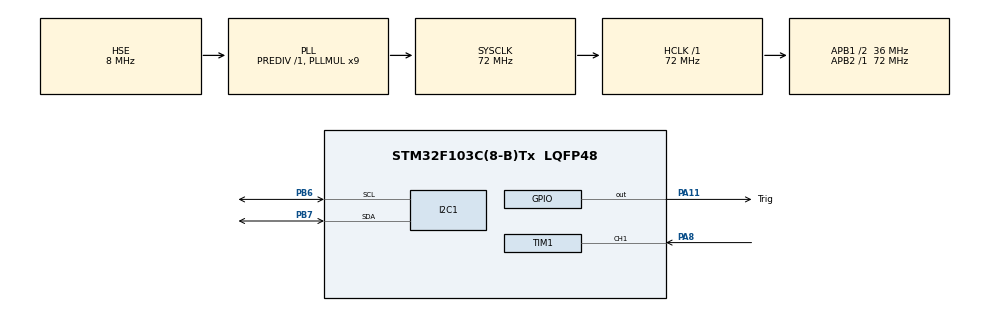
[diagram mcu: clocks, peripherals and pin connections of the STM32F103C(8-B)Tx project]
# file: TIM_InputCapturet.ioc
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Mcu.Family=STM32F1
Mcu.Name=STM32F103C(8-B)Tx
Mcu.Package=LQFP48
NVIC.PriorityGroup=NVIC_PRIORITYGROUP_4
NVIC.TIM1_CC_IRQn=true\:0\:0\:false\:false\:true\:true\:true\:true
PA11.GPIO_Label=Trig
PA11.Signal=GPIO_Output
PA13.Mode=Serial_Wire
PA13.Signal=SYS_JTMS-SWDIO
PA14.Mode=Serial_Wire
PA14.Signal=SYS_JTCK-SWCLK
PA8.Signal=S_TIM1_CH1
PB6.Mode=I2C
PB6.Signal=I2C1_SCL
PB7.Mode=I2C
PB7.Signal=I2C1_SDA
PD0-OSC_IN.Mode=HSE-External-Oscillator
PD0-OSC_IN.Signal=RCC_OSC_IN
PD1-OSC_OUT.Mode=HSE-External-Oscillator
PD1-OSC_OUT.Signal=RCC_OSC_OUT
ProjectManager.HeapSize=0x200
ProjectManager.StackSize=0x400
ProjectManager.TargetToolchain=STM32CubeIDE
RCC.AHBFreq_Value=72000000
RCC.APB1CLKDivider=RCC_HCLK_DIV2
RCC.APB1Freq_Value=36000000
RCC.APB1TimFreq_Value=72000000
RCC.APB2Freq_Value=72000000
RCC.APB2TimFreq_Value=72000000
RCC.HCLKFreq_Value=72000000
RCC.PLLMUL=RCC_PLL_MUL9
RCC.PLLSourceVirtual=RCC_PLLSOURCE_HSE
RCC.SYSCLKFreq_VALUE=72000000
RCC.SYSCLKSource=RCC_SYSCLKSOURCE_PLLCLK
RCC.USBFreq_Value=72000000
SH.S_TIM1_CH1.0=TIM1_CH1,Input_Capture1_from_TI1
TIM1.Channel-Input_Capture1_from_TI1=TIM_CHANNEL_1
TIM1.Channel-Input_Capture2_from_TI1_63=TIM_CHANNEL_2
TIM1.Prescaler=71
VP_TIM1_VS_ClockSourceINT.Mode=Internal
VP_TIM1_VS_indirect_ch1.Mode=Input_Capture2_from_TI1_63
board=custom

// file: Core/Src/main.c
/* USER CODE BEGIN Header */
/**
  ******************************************************************************
  * @file           : main.c
  * @brief          : Main program body
  ******************************************************************************
  * @attention
  *
  * Copyright (c) 2025 STMicroelectronics.
  * All rights reserved.
  *
  * This software is licensed under terms that can be found in the LICENSE file
  * in the root directory of this software component.
  * If no LICENSE file comes with this software, it is provided AS-IS.
  *
  ******************************************************************************
  */
/* USER CODE END Header */
#include "main.h"
#include "i2c.h"
#include "tim.h"
#include "gpio.h"

/* USER CODE BEGIN Includes */
#include<oled.h>
#include"stdio.h"
/* USER CODE END Includes */

void SystemClock_Config(void);

/* USER CODE BEGIN 0 */
int upEdge =0;
int downEdge=0;
float distance=0;

void HAL_TIM_IC_CaptureCallback(TIM_HandleTypeDef *htim){
	if(htim==&htim1&&htim->Channel==HAL_TIM_ACTIVE_CHANNEL_2){
		upEdge = HAL_TIM_ReadCapturedValue(htim, TIM_CHANNEL_1);
		downEdge = HAL_TIM_ReadCapturedValue(htim, TIM_CHANNEL_2);
		distance=((downEdge-upEdge)*0.034)/2;

	}
}
/* USER CODE END 0 */

int main(void)
{

  /* MCU Configuration--------------------------------------------------------*/

  /* Reset of all peripherals, Initializes the Flash interface and the Systick. */
  HAL_Init();

  /* Configure the system clock */
  SystemClock_Config();

  /* Initialize all configured peripherals */
  MX_GPIO_Init();
  MX_I2C1_Init();
  MX_TIM1_Init();
  /* USER CODE BEGIN 2 */
  HAL_Delay(20);
  OLED_Init();
  OLED_NewFrame();
  OLED_DrawCircle(5, 5, 2, OLED_COLOR_NORMAL);
  OLED_ShowFrame();

  HAL_TIM_Base_Start(&htim1);
  HAL_TIM_IC_Start(&htim1, TIM_CHANNEL_1);
  HAL_TIM_IC_Start_IT(&htim1, TIM_CHANNEL_2);

  char message[20]="";

  /* USER CODE END 2 */

  /* Infinite loop */
  /* USER CODE BEGIN WHILE */
  while (1)
  {
	  HAL_GPIO_WritePin(Trig_GPIO_Port, Trig_Pin, GPIO_PIN_SET);
	  HAL_Delay(1);
	  HAL_GPIO_WritePin(Trig_GPIO_Port, Trig_Pin, GPIO_PIN_RESET);
      __HAL_TIM_SET_COUNTER(&htim1,0);
      HAL_Delay(20);

      OLED_NewFrame();
      sprintf(message,"lens: %.2fcm",distance);
      OLED_PrintString(1, 1, message, &font16x16, OLED_COLOR_NORMAL);
      OLED_ShowFrame();

      HAL_Delay(500);
    /* USER CODE END WHILE */

  }
}

void SystemClock_Config(void)
{
  RCC_OscInitTypeDef RCC_OscInitStruct = {0};
  RCC_ClkInitTypeDef RCC_ClkInitStruct = {0};

  /** Initializes the RCC Oscillators according to the specified parameters
  * in the RCC_OscInitTypeDef structure.
  */
  RCC_OscInitStruct.OscillatorType = RCC_OSCILLATORTYPE_HSE;
  RCC_OscInitStruct.HSEState = RCC_HSE_ON;
  RCC_OscInitStruct.HSEPredivValue = RCC_HSE_PREDIV_DIV1;
  RCC_OscInitStruct.HSIState = RCC_HSI_ON;
  RCC_OscInitStruct.PLL.PLLState = RCC_PLL_ON;
  RCC_OscInitStruct.PLL.PLLSource = RCC_PLLSOURCE_HSE;
  RCC_OscInitStruct.PLL.PLLMUL = RCC_PLL_MUL9;
  if (HAL_RCC_OscConfig(&RCC_OscInitStruct) != HAL_OK)
  {
    Error_Handler();
  }

  /** Initializes the CPU, AHB and APB buses clocks
  */
  RCC_ClkInitStruct.ClockType = RCC_CLOCKTYPE_HCLK|RCC_CLOCKTYPE_SYSCLK
                              |RCC_CLOCKTYPE_PCLK1|RCC_CLOCKTYPE_PCLK2;
  RCC_ClkInitStruct.SYSCLKSource = RCC_SYSCLKSOURCE_PLLCLK;
  RCC_ClkInitStruct.AHBCLKDivider = RCC_SYSCLK_DIV1;
  RCC_ClkInitStruct.APB1CLKDivider = RCC_HCLK_DIV2;
  RCC_ClkInitStruct.APB2CLKDivider = RCC_HCLK_DIV1;

  if (HAL_RCC_ClockConfig(&RCC_ClkInitStruct, FLASH_LATENCY_2) != HAL_OK)
  {
    Error_Handler();
  }
}

void Error_Handler(void)
{
  __disable_irq();
  while (1)
  {
  }
}
